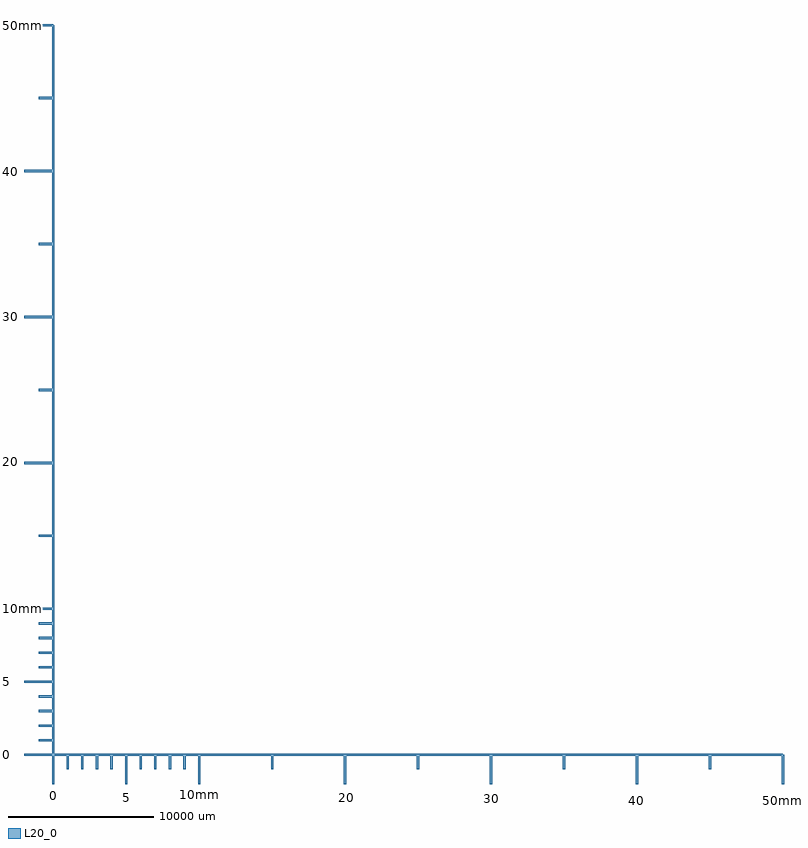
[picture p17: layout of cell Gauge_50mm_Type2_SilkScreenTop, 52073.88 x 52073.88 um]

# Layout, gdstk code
import gdstk
lib = gdstk.Library(unit=1e-6, precision=1e-09)
L20_0 = (20, 0)

gauge_50mm_type2_silkscr = lib.new_cell('Gauge_50mm_Type2_SilkScreenTop')
gauge_50mm_type2_silkscr.add(gdstk.FlexPath([(9999.98,0),(9999.98,-1998.98)], 149.998, ends="flush", simple_path=True, layer=20, datatype=0))  # L20_0
gauge_50mm_type2_silkscr.add(gdstk.FlexPath([(0,0),(9999.98,0)], 149.998, ends="flush", simple_path=True, layer=20, datatype=0))  # L20_0
gauge_50mm_type2_silkscr.add(gdstk.FlexPath([(0,0),(0,-1998.98)], 149.998, ends="flush", simple_path=True, layer=20, datatype=0))  # L20_0
gauge_50mm_type2_silkscr.add(gdstk.FlexPath([(5001.26,0),(5001.26,-1998.98)], 149.998, ends="flush", simple_path=True, layer=20, datatype=0))  # L20_0
gauge_50mm_type2_silkscr.add(gdstk.FlexPath([(1000.76,0),(1000.76,-1000.76)], 149.998, ends="flush", simple_path=True, layer=20, datatype=0))  # L20_0
gauge_50mm_type2_silkscr.add(gdstk.FlexPath([(1998.98,0),(1998.98,-1000.76)], 149.998, ends="flush", simple_path=True, layer=20, datatype=0))  # L20_0
gauge_50mm_type2_silkscr.add(gdstk.FlexPath([(2999.74,0),(2999.74,-1000.76)], 149.998, ends="flush", simple_path=True, layer=20, datatype=0))  # L20_0
gauge_50mm_type2_silkscr.add(gdstk.FlexPath([(4000.5,0),(4000.5,-1000.76)], 149.998, ends="flush", simple_path=True, layer=20, datatype=0))  # L20_0
gauge_50mm_type2_silkscr.add(gdstk.FlexPath([(5999.48,0),(5999.48,-1000.76)], 149.998, ends="flush", simple_path=True, layer=20, datatype=0))  # L20_0
gauge_50mm_type2_silkscr.add(gdstk.FlexPath([(7000.24,0),(7000.24,-1000.76)], 149.998, ends="flush", simple_path=True, layer=20, datatype=0))  # L20_0
gauge_50mm_type2_silkscr.add(gdstk.FlexPath([(8001,0),(8001,-1000.76)], 149.998, ends="flush", simple_path=True, layer=20, datatype=0))  # L20_0
gauge_50mm_type2_silkscr.add(gdstk.FlexPath([(8999.22,0),(8999.22,-1000.76)], 149.998, ends="flush", simple_path=True, layer=20, datatype=0))  # L20_0
gauge_50mm_type2_silkscr.add(gdstk.FlexPath([(15001.24,0),(15001.24,-1000.76)], 149.998, ends="flush", simple_path=True, layer=20, datatype=0))  # L20_0
gauge_50mm_type2_silkscr.add(gdstk.FlexPath([(19999.96,0),(19999.96,-1998.98)], 149.998, ends="flush", simple_path=True, layer=20, datatype=0))  # L20_0
gauge_50mm_type2_silkscr.add(gdstk.FlexPath([(25001.22,0),(25001.22,-1000.76)], 149.998, ends="flush", simple_path=True, layer=20, datatype=0))  # L20_0
gauge_50mm_type2_silkscr.add(gdstk.FlexPath([(29999.94,0),(29999.94,-1998.98)], 149.998, ends="flush", simple_path=True, layer=20, datatype=0))  # L20_0
gauge_50mm_type2_silkscr.add(gdstk.FlexPath([(35001.2,0),(35001.2,-1000.76)], 149.998, ends="flush", simple_path=True, layer=20, datatype=0))  # L20_0
gauge_50mm_type2_silkscr.add(gdstk.FlexPath([(39999.92,0),(39999.92,-1998.98)], 149.998, ends="flush", simple_path=True, layer=20, datatype=0))  # L20_0
gauge_50mm_type2_silkscr.add(gdstk.FlexPath([(45001.18,0),(45001.18,-1000.76)], 149.998, ends="flush", simple_path=True, layer=20, datatype=0))  # L20_0
gauge_50mm_type2_silkscr.add(gdstk.FlexPath([(49999.9,0),(49999.9,-1998.98)], 149.998, ends="flush", simple_path=True, layer=20, datatype=0))  # L20_0
gauge_50mm_type2_silkscr.add(gdstk.FlexPath([(9999.98,0),(49999.9,0)], 149.998, ends="flush", simple_path=True, layer=20, datatype=0))  # L20_0
gauge_50mm_type2_silkscr.add(gdstk.FlexPath([(0,0),(0,49999.9)], 149.998, ends="flush", simple_path=True, layer=20, datatype=0))  # L20_0
gauge_50mm_type2_silkscr.add(gdstk.FlexPath([(0,49999.9),(-1998.98,49999.9)], 149.998, ends="flush", simple_path=True, layer=20, datatype=0))  # L20_0
gauge_50mm_type2_silkscr.add(gdstk.FlexPath([(0,0),(-1998.98,0)], 149.998, ends="flush", simple_path=True, layer=20, datatype=0))  # L20_0
gauge_50mm_type2_silkscr.add(gdstk.FlexPath([(0,5001.26),(-1998.98,5001.26)], 149.998, ends="flush", simple_path=True, layer=20, datatype=0))  # L20_0
gauge_50mm_type2_silkscr.add(gdstk.FlexPath([(0,1000.76),(-1000.76,1000.76)], 149.998, ends="flush", simple_path=True, layer=20, datatype=0))  # L20_0
gauge_50mm_type2_silkscr.add(gdstk.FlexPath([(0,1998.98),(-1000.76,1998.98)], 149.998, ends="flush", simple_path=True, layer=20, datatype=0))  # L20_0
gauge_50mm_type2_silkscr.add(gdstk.FlexPath([(0,2999.74),(-1000.76,2999.74)], 149.998, ends="flush", simple_path=True, layer=20, datatype=0))  # L20_0
gauge_50mm_type2_silkscr.add(gdstk.FlexPath([(0,4000.5),(-1000.76,4000.5)], 149.998, ends="flush", simple_path=True, layer=20, datatype=0))  # L20_0
gauge_50mm_type2_silkscr.add(gdstk.FlexPath([(0,9999.98),(-1998.98,9999.98)], 149.998, ends="flush", simple_path=True, layer=20, datatype=0))  # L20_0
gauge_50mm_type2_silkscr.add(gdstk.FlexPath([(0,5999.48),(-1000.76,5999.48)], 149.998, ends="flush", simple_path=True, layer=20, datatype=0))  # L20_0
gauge_50mm_type2_silkscr.add(gdstk.FlexPath([(0,7000.24),(-1000.76,7000.24)], 149.998, ends="flush", simple_path=True, layer=20, datatype=0))  # L20_0
gauge_50mm_type2_silkscr.add(gdstk.FlexPath([(0,8001),(-1000.76,8001)], 149.998, ends="flush", simple_path=True, layer=20, datatype=0))  # L20_0
gauge_50mm_type2_silkscr.add(gdstk.FlexPath([(0,8999.22),(-1000.76,8999.22)], 149.998, ends="flush", simple_path=True, layer=20, datatype=0))  # L20_0
gauge_50mm_type2_silkscr.add(gdstk.FlexPath([(0,15001.24),(-1000.76,15001.24)], 149.998, ends="flush", simple_path=True, layer=20, datatype=0))  # L20_0
gauge_50mm_type2_silkscr.add(gdstk.FlexPath([(0,19999.96),(-1998.98,19999.96)], 149.998, ends="flush", simple_path=True, layer=20, datatype=0))  # L20_0
gauge_50mm_type2_silkscr.add(gdstk.FlexPath([(0,25001.22),(-1000.76,25001.22)], 149.998, ends="flush", simple_path=True, layer=20, datatype=0))  # L20_0
gauge_50mm_type2_silkscr.add(gdstk.FlexPath([(0,29999.94),(-1998.98,29999.94)], 149.998, ends="flush", simple_path=True, layer=20, datatype=0))  # L20_0
gauge_50mm_type2_silkscr.add(gdstk.FlexPath([(0,35001.2),(-1000.76,35001.2)], 149.998, ends="flush", simple_path=True, layer=20, datatype=0))  # L20_0
gauge_50mm_type2_silkscr.add(gdstk.FlexPath([(0,39999.92),(-1998.98,39999.92)], 149.998, ends="flush", simple_path=True, layer=20, datatype=0))  # L20_0
gauge_50mm_type2_silkscr.add(gdstk.FlexPath([(0,45001.18),(-1000.76,45001.18)], 149.998, ends="flush", simple_path=True, layer=20, datatype=0))  # L20_0
gauge_50mm_type2_silkscr.add(gdstk.Label('10mm', (9999.98,-2700.02), layer=9, texttype=0))
gauge_50mm_type2_silkscr.add(gdstk.Label('0', (0,-2799.08), layer=9, texttype=0))
gauge_50mm_type2_silkscr.add(gdstk.Label('5', (4998.72,-2900.68), layer=9, texttype=0))
gauge_50mm_type2_silkscr.add(gdstk.Label('20', (20099.02,-2900.68), layer=9, texttype=0))
gauge_50mm_type2_silkscr.add(gdstk.Label('30', (29999.94,-2999.74), layer=9, texttype=0))
gauge_50mm_type2_silkscr.add(gdstk.Label('40', (39999.92,-3101.34), layer=9, texttype=0))
gauge_50mm_type2_silkscr.add(gdstk.Label('50mm', (49999.9,-3101.34), layer=9, texttype=0))
gauge_50mm_type2_silkscr.add(gdstk.Label('50mm', (-3197.86,50002.44), layer=9, texttype=0))
gauge_50mm_type2_silkscr.add(gdstk.Label('40', (-3197.86,40002.46), layer=9, texttype=0))
gauge_50mm_type2_silkscr.add(gdstk.Label('30', (-3299.46,30002.48), layer=9, texttype=0))
gauge_50mm_type2_silkscr.add(gdstk.Label('20', (-3398.52,20101.56), layer=9, texttype=0))
gauge_50mm_type2_silkscr.add(gdstk.Label('5', (-3398.52,5001.26), layer=9, texttype=0))
gauge_50mm_type2_silkscr.add(gdstk.Label('0', (-3500.12,2.54), layer=9, texttype=0))
gauge_50mm_type2_silkscr.add(gdstk.Label('10mm', (-3599.18,10002.52), layer=9, texttype=0))
gauge_50mm_type2_silkscr.add(gdstk.Label('type', (24000.46,-6400.8), layer=9, texttype=0))
gauge_50mm_type2_silkscr.add(gdstk.Label('devicename', (20500.34,-9999.98), layer=9, texttype=0))

lib.write_gds('Gauge_50mm_Type2_SilkScreenTop.gds')
